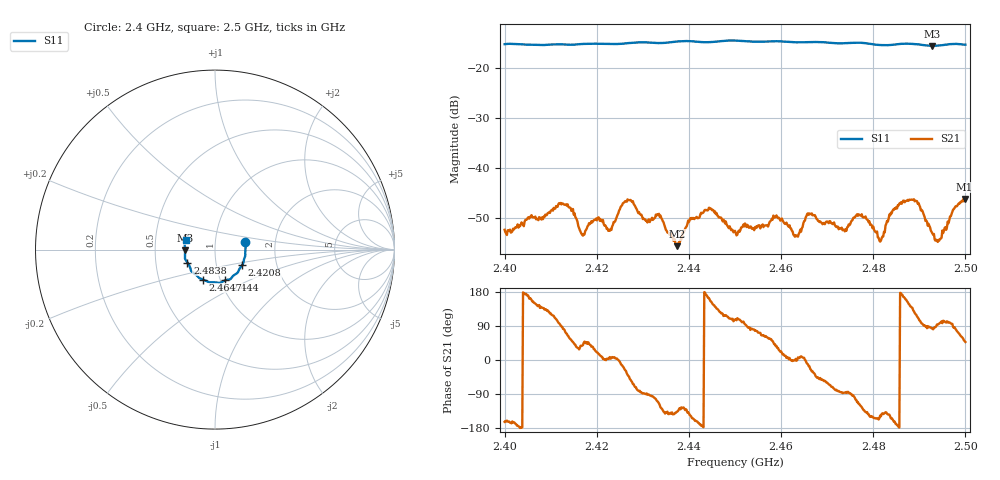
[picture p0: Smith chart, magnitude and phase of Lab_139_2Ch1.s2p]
# Hz S RI R 50
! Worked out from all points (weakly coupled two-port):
!   601 points, 2.4 GHz to 2.5 GHz, reference 50 ohm
!   highest |S21| = -46.25 dB at 2.4998 GHz (marker M1); lowest = -55.7 dB at 2.4375 GHz (marker M2)
!   lowest |S11| = -15.6 dB at 2.4928 GHz (marker M3), VSWR 1.40, Z = 35.8 - j0.358 ohm
!   |S11| at or under -10 dB: start of sweep to end of sweep
!   S12 and S22 are empty: the file has one direction only
!   S11 on the Smith chart (normalised r, x): 2.4 GHz: 1.40, +0.12; 2.4208 GHz: 1.33, -0.24; 2.444 GHz: 1.06, -0.37; 2.4647 GHz: 0.83, -0.29; 2.4838 GHz: 0.73, -0.11; 2.5 GHz: 0.72, +0.08
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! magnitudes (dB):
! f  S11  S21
! 2.4 GHz  -15.3  -52.4
! 2.4122 GHz  -15.3  -47.0
! 2.4167 GHz  -15.2  -53.2
! 2.4208 GHz  -15.2  -50.3
! 2.423 GHz  -15.2  -52.2
! 2.4268 GHz  -15.0  -46.4
! 2.4333 GHz  -15.0  -49.4
! 2.4375 GHz  -14.7  -55.7
! 2.444 GHz  -14.9  -48.5
! 2.45 GHz  -14.5  -52.6
! 2.4647 GHz  -14.9  -51.8
! 2.4667 GHz  -14.8  -49.1
! 2.4737 GHz  -15.1  -52.4
! 2.477 GHz  -15.0  -49.4
! 2.4815 GHz  -15.4  -54.8
! 2.4833 GHz  -15.5  -50.2
! 2.4838 GHz  -15.4  -49.0
! 2.489 GHz  -15.2  -46.7
! 2.4928 GHz  -15.6  -53.1
! 2.4943 GHz  -15.5  -54.5
! 2.4998 GHz  -15.3  -46.3
! 2.5 GHz  -15.4  -46.4
